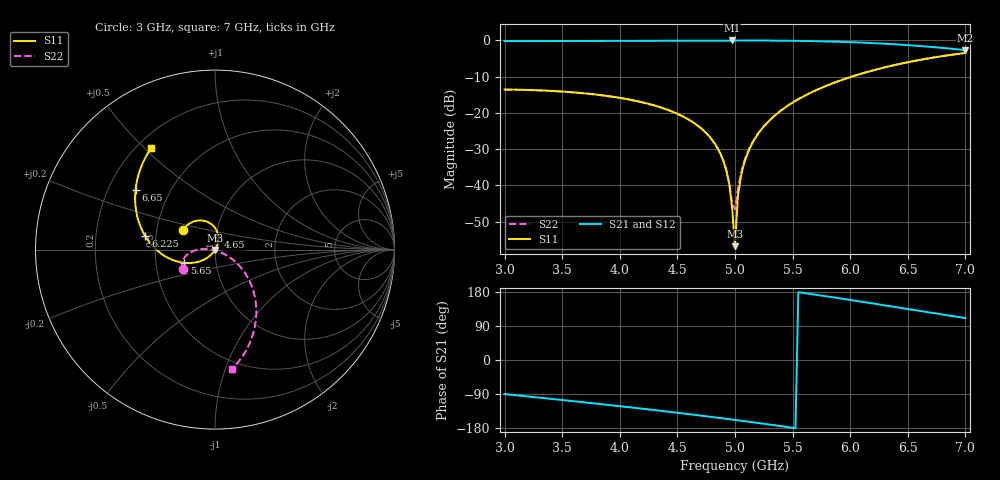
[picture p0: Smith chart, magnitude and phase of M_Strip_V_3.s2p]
! Created Thu May  9 22:35:37 2024
# hz S ma R 50
! 2 Port Network Data from SP1.SP block
! freq  magS11  angS11  magS21  angS21  magS12  angS12  magS22  angS22
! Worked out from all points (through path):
!   161 points, 3 GHz to 7 GHz, reference 50 ohm
!   highest |S21| = -0.04 dB at 4.975 GHz (marker M1); lowest = -2.7 dB at 7 GHz (marker M2)
!   lowest |S11| = -56.8 dB at 5 GHz (marker M3), VSWR 1.00, Z = 50 - j0.141 ohm
!   |S11| at or under -10 dB: start of sweep to 6.015 GHz
!   |S22| runs from -46.6 to -3.5 dB; largest |S21 - S12| = 0
!   S11 on the Smith chart (normalised r, x): 3 GHz: 0.68, +0.16; 4.65 GHz: 1.03, +0.14; 5.65 GHz: 0.70, -0.11; 6.225 GHz: 0.44, +0.08; 6.65 GHz: 0.32, +0.30; 7 GHz: 0.26, +0.53
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3e9  0.2097 148.5  0.9752 -90.0  0.9752 -90.0  0.2092 -148.6
3.675e9  0.1871 120.0  0.9793 -111.2  0.9793 -111.2  0.1865 -162.3
4.35e9  0.1197 89.4  0.989 -133.9  0.989 -133.9  0.119 -176.6
4.65e9  0.07168 74.8  0.9932 -144.8  0.9932 -144.8  0.07097 177.5
4.775e9  0.04787 68.2  0.9944 -149.4  0.9944 -149.4  0.04722 176.1
4.875e9  0.02713 62.3  0.9951 -153.3  0.9951 -153.3  0.02661 177.5
4.925e9  0.01619 58.2  0.9952 -155.2  0.9952 -155.2  0.0159 -177.5
4.95e9  0.01058 55.0  0.9952 -156.2  0.9952 -156.2  0.01059 -169.9
4.975e9  0.004919 47.1  0.9952 -157.2  0.9952 -157.2  0.005835 -147.2
5e9  0.001453 -76.1  0.9952 -158.1  0.9952 -158.1  0.004674 -81.7
5.025e9  0.007011 -114.6  0.9951 -159.1  0.9951 -159.1  0.008886 -44.7
5.05e9  0.01299 -119.9  0.995 -160.1  0.995 -160.1  0.01445 -33.8
5.075e9  0.0191 -122.7  0.9949 -161.1  0.9949 -161.1  0.02038 -29.4
5.125e9  0.03162 -126.5  0.9945 -163.1  0.9945 -163.1  0.03275 -26.2
5.2e9  0.05117 -131.2  0.9935 -166.2  0.9935 -166.2  0.0522 -25.5
5.325e9  0.08575 -138.4  0.9909 -171.4  0.9909 -171.4  0.08672 -27.3
5.65e9  0.1868 -156.8  0.9763 174.6  0.9763 174.6  0.1878 -35.8
5.675e9  0.1952 -158.2  0.9746 173.5  0.9746 173.5  0.1962 -36.5
6.225e9  0.395 169.2  0.9111 147.9  0.9111 147.9  0.3961 -54.6
6.35e9  0.4422 161.6  0.8889 141.9  0.8889 141.9  0.4434 -58.9
6.65e9  0.5528 143.2  0.8243 127.3  0.8243 127.3  0.5541 -69.5
7e9  0.6694 122.0  0.7326 110.6  0.7326 110.6  0.671 -81.7
